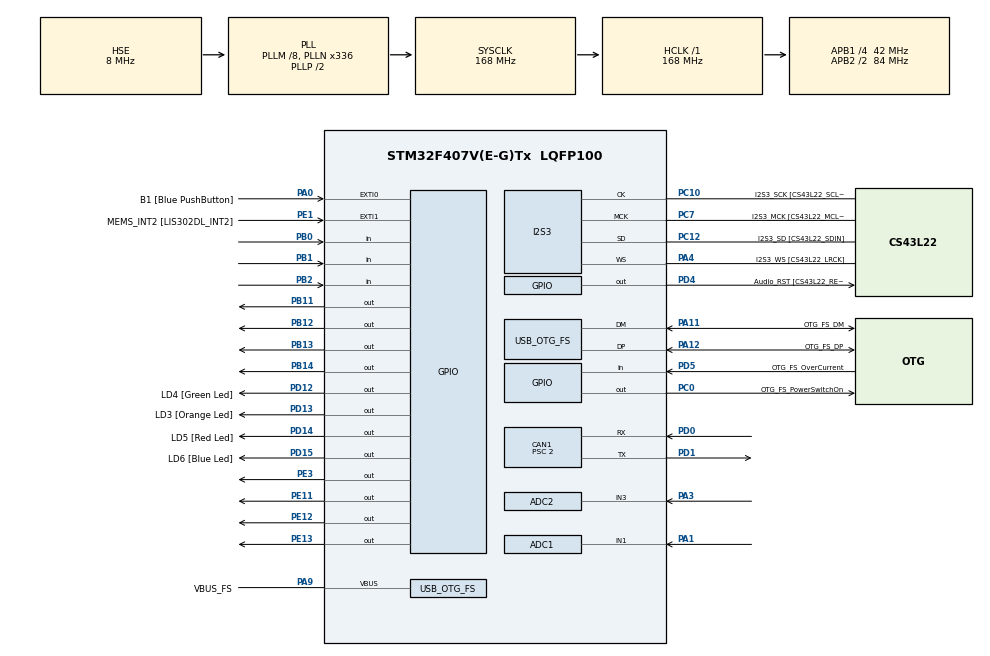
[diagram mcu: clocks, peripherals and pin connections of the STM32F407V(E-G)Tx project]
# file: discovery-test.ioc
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PA11.GPIO_Speed=GPIO_SPEED_FREQ_LOW
PD12.GPIO_Label=LD4 [Green Led]
PH0-OSC_IN.Signal=RCC_OSC_IN
PC10.GPIO_PuPd=GPIO_NOPULL
PB10.GPIO_PuPd=GPIO_NOPULL
PA10.GPIO_PuPd=GPIO_NOPULL
PC12.Signal=I2S3_SD
PA14.GPIO_Label=SWCLK
PA6.GPIO_Label=SPI1_MISO [LIS302DL_SDO]
PB6.GPIO_Label=Audio_SCL [CS43L22_SCL]
PB13.Signal=GPIO_Output
PC15-OSC32_OUT.GPIO_Label=PC15-OSC32_OUT
PC3.GPIO_Speed=GPIO_SPEED_FREQ_LOW
RCC.SYSCLKSource=RCC_SYSCLKSOURCE_PLLCLK
PA6.GPIO_Mode=GPIO_MODE_AF_PP
PD14.GPIO_Speed=GPIO_SPEED_FREQ_LOW
PA4.Mode=Half_Duplex_Master
I2S3.AudioFreq-Half_Duplex_Master=I2S_AUDIOFREQ_96K
PD4.Signal=GPIO_Output
RCC.APB2TimFreq_Value=168000000
PB6.Signal=I2C1_SCL
PC7.Signal=I2S3_MCK
PC3.Signal=I2S2_SD
PD0.Signal=CAN1_RX
PE1.Signal=GPXTI1
USB_OTG_FS.phy_itface=HCD_PHY_EMBEDDED
PB2.Signal=GPIO_Input
I2S3.ErrorAudioFreq=-2.34 %
PA5.GPIO_PuPd=GPIO_NOPULL
I2S3.ErrorAudioFreq-Half_Duplex_Master=0.8 %
PD5.GPIO_Mode=GPIO_MODE_INPUT
PD14.GPIO_PuPd=GPIO_NOPULL
VP_TIM1_VS_ClockSourceINT.Mode=Internal
ADC1.SamplingTime-0\#ChannelRegularConversion=ADC_SAMPLETIME_3CYCLES
CAN1.Prescaler=2
Mcu.Package=LQFP100
PB9.Signal=I2C1_SDA
PB1.Signal=GPIO_Input
PD12.Signal=GPIO_Output
PA10.Signal=USB_OTG_FS_ID
PB9.GPIO_PuPd=GPIO_NOPULL
RCC.APB2CLKDivider=RCC_HCLK_DIV2
RCC.APB1TimFreq_Value=84000000
TIM1.Period=0xffff-1
PC12.GPIO_PuPd=GPIO_NOPULL
PA6.GPIO_Speed=GPIO_SPEED_FREQ_LOW
PA12.GPIO_PuPd=GPIO_NOPULL
CAN1.CalculateTimeBit=999.99
PA4.GPIO_Label=I2S3_WS [CS43L22_LRCK]
PD15.Signal=GPIO_Output
PC0.PinState=GPIO_PIN_SET
CAN1.CalculateTimeQuantum=47.61904761904762
I2S3.FullDuplexMode=I2S_FULLDUPLEXMODE_DISABLE
ADC1.Rank-0\#ChannelRegularConversion=1
PA9.GPIO_Label=VBUS_FS
PB6.GPIO_PuPd=GPIO_NOPULL
CAN1.CalculateBaudRate=1000000
PD1.Signal=CAN1_TX
PA11.GPIO_Label=OTG_FS_DM
PE1.GPIO_PuPd=GPIO_NOPULL
PC0.Signal=GPIO_Output
RCC.APB1CLKDivider=RCC_HCLK_DIV4
PC14-OSC32_IN.Signal=RCC_OSC32_IN
PA0-WKUP.GPIO_ModeDefaultEXTI=GPIO_MODE_EVT_RISING
PA0-WKUP.GPIO_Label=B1 [Blue PushButton]
PA0-WKUP.Signal=GPXTI0
USB_HOST0.BSP.STBoard=false
PC10.GPIO_Mode=GPIO_MODE_AF_PP
PB10.GPIO_Mode=GPIO_MODE_AF_PP
PA9.Signal=USB_OTG_FS_VBUS
I2S3.VirtualMode=I2S_MODE_MASTER
PC7.GPIO_PuPd=GPIO_NOPULL
PB10.Signal=I2S2_CK
PB14.Signal=GPIO_Output
PA5.Signal=SPI1_SCK
I2S3.AudioFreq=I2S_AUDIOFREQ_96K
PC12.Mode=Half_Duplex_Master
PE1.GPIO_Label=MEMS_INT2 [LIS302DL_INT2]
USB_HOST.VirtualModeFS=Cdc
PA7.GPIO_Speed=GPIO_SPEED_FREQ_LOW
PD1.Mode=CAN_Activate
PD4.GPIO_Speed=GPIO_SPEED_FREQ_LOW
PH1-OSC_OUT.GPIO_Label=PH1-OSC_OUT
PA13.Mode=Serial_Wire
PC7.GPIO_Label=I2S3_MCK [CS43L22_MCLK]
PA4.Signal=I2S3_WS
PC12.GPIO_Mode=GPIO_MODE_AF_PP
ADC1.master=1
PA5.GPIO_Label=SPI1_SCK [LIS302DL_SCL/SPC]
ADC2.NbrOfConversionFlag=1
PC12.GPIO_Label=I2S3_SD [CS43L22_SDIN]
PA11.Signal=USB_OTG_FS_DM
ProjectManager.HeapSize=0x200
NVIC.PriorityGroup=NVIC_PRIORITYGROUP_0
PE3.Signal=GPIO_Output
PC3.GPIO_Label=PDM_OUT [MP45DT02_DOUT]
PA0-WKUP.GPIO_PuPd=GPIO_NOPULL
I2S3.Instance=SPI$Index
PB6.GPIO_Speed=GPIO_SPEED_FREQ_LOW
PB0.Signal=GPIO_Input
USB_HOST0.BSP.mode=Output
Mcu.Family=STM32F4
PC3.GPIO_Mode=GPIO_MODE_AF_PP
RCC.CortexFreq_Value=168000000
PB10.GPIO_Speed=GPIO_SPEED_FREQ_LOW
PB6.GPIO_Mode=GPIO_MODE_AF_OD
ADC2.Channel-0\#ChannelRegularConversion=ADC_CHANNEL_3
PD15.GPIO_Speed=GPIO_SPEED_FREQ_LOW
PC10.Signal=I2S3_CK
PA7.GPIO_Mode=GPIO_MODE_AF_PP
PC0.GPIO_Label=OTG_FS_PowerSwitchOn
PA11.Mode=Host_Only
PC10.GPIO_Speed=GPIO_SPEED_FREQ_LOW
PA11.GPIO_PuPd=GPIO_NOPULL
PB11.Signal=GPIO_Output
ProjectManager.StackSize=0x400
PD13.Signal=GPIO_Output
PA12.Signal=USB_OTG_FS_DP
TIM1.Prescaler=168-1
RCC.HCLKFreq_Value=168000000
SH.ADCx_IN3.0=ADC2_IN3,IN3
USB_HOST0.BSP.ip=GPIO
RCC.AHBFreq_Value=168000000
PH0-OSC_IN.Mode=HSE-External-Oscillator
PH0-OSC_IN.GPIO_Label=PH0-OSC_IN
PA9.GPIO_Mode=GPIO_MODE_INPUT
ADC1.Channel-0\#ChannelRegularConversion=ADC_CHANNEL_1
RCC.HSE_VALUE=8000000
PA4.GPIO_PuPd=GPIO_NOPULL
PA4.GPIO_Speed=GPIO_SPEED_FREQ_LOW
PA6.GPIO_PuPd=GPIO_NOPULL
PE13.Signal=GPIO_Output
PC14-OSC32_IN.Mode=LSE-External-Oscillator
PA14.Mode=Serial_Wire
PA10.GPIO_Label=OTG_FS_ID
PC7.GPIO_Mode=GPIO_MODE_AF_PP
USB_HOST0.BSP.i2creg=0
PH1-OSC_OUT.Mode=HSE-External-Oscillator
USB_HOST0.BSP.i2caddr=0
PD13.GPIO_Label=LD3 [Orange Led]
PA6.Signal=SPI1_MISO
USB_HOST.USBH_HandleTypeDef-CDC_FS=hUsbHostFS
PD5.GPIO_Label=OTG_FS_OverCurrent
NVIC.OTG_FS_IRQn=true\:0\:0\:false\:false\:true\:true\:true
PD15.GPIO_PuPd=GPIO_NOPULL
USB_OTG_FS.VirtualMode=Host_Only
ADC2.SamplingTime-0\#ChannelRegularConversion=ADC_SAMPLETIME_3CYCLES
PA10.GPIO_Speed=GPIO_SPEED_FREQ_LOW
USB_HOST0.BSP.name=Drive_VBUS_FS
SH.ADCx_IN1.0=ADC1_IN1,IN1
PB9.GPIO_Speed=GPIO_SPEED_FREQ_LOW
PC14-OSC32_IN.GPIO_Label=PC14-OSC32_IN
ADC2.Rank-0\#ChannelRegularConversion=1
PC0.GPIO_PuPd=GPIO_NOPULL
PA12.GPIO_Speed=GPIO_SPEED_FREQ_LOW
PA3.Signal=ADCx_IN3
PB3.GPIO_Label=SWO
ADC2.ClockPrescaler=ADC_CLOCK_SYNC_PCLK_DIV4
PC15-OSC32_OUT.Mode=LSE-External-Oscillator
PD12.GPIO_Speed=GPIO_SPEED_FREQ_LOW
PD15.GPIO_Label=LD6 [Blue Led]
PB9.GPIO_Label=Audio_SDA [CS43L22_SDA]
PC10.GPIO_Label=I2S3_SCK [CS43L22_SCLK]
USB_HOST0.BSP.solution=PC0
PC10.Mode=Half_Duplex_Master
USB_HOST.BSP.number=1
PD5.Signal=GPIO_Input
PE1.GPIO_ModeDefaultEXTI=GPIO_MODE_EVT_RISING
PA9.GPIO_PuPd=GPIO_NOPULL
PA12.GPIO_Label=OTG_FS_DP
PA10.GPIO_Mode=GPIO_MODE_AF_PP
PA13.Signal=SYS_JTMS-SWDIO
PD4.GPIO_PuPd=GPIO_NOPULL
PA9.Mode=Activate_VBUS
PC0.GPIO_Speed=GPIO_SPEED_FREQ_LOW
I2S3.RealAudioFreq-Half_Duplex_Master=96.774 KHz
CAN1.BS2=CAN_BS2_4TQ
CAN1.BS1=CAN_BS1_16TQ
ProjectManager.TargetToolchain=STM32CubeIDE
PB10.GPIO_Label=CLK_IN [MP45DT02_CLK]
PE11.Signal=GPIO_Output
PC15-OSC32_OUT.Signal=RCC_OSC32_OUT
PA7.GPIO_PuPd=GPIO_NOPULL
PA1.Signal=ADCx_IN1
board=STM32F407G-DISC1
PD13.GPIO_Speed=GPIO_SPEED_FREQ_LOW
PC7.GPIO_Speed=GPIO_SPEED_FREQ_LOW
RCC.VCOOutputFreq_Value=336000000
PB9.GPIO_Mode=GPIO_MODE_AF_OD
PA12.GPIO_Mode=GPIO_MODE_AF_PP
PA4.GPIO_Mode=GPIO_MODE_AF_PP
RCC.APB2Freq_Value=84000000
USB_HOST0.BSP.api=Unknown
PD4.GPIO_Label=Audio_RST [CS43L22_RESET]
PH1-OSC_OUT.Signal=RCC_OSC_OUT
PD13.GPIO_PuPd=GPIO_NOPULL
PD5.GPIO_PuPd=GPIO_NOPULL
PD14.GPIO_Label=LD5 [Red Led]
Mcu.Name=STM32F407V(E-G)Tx
PD0.Mode=CAN_Activate
PE12.Signal=GPIO_Output
PA13.GPIO_Label=SWDIO
PD14.Signal=GPIO_Output
RCC.48MHZClocksFreq_Value=48000000
PB3.Signal=SYS_JTDO-SWO
RCC.SYSCLKFreq_VALUE=168000000
PA7.GPIO_Label=SPI1_MOSI [LIS302DL_SDA/SDI/SDO]
PA12.Mode=Host_Only
VP_USB_HOST_VS_USB_HOST_CDC_FS.Mode=CDC_FS
PA14.Signal=SYS_JTCK-SWCLK
RCC.HSI_VALUE=16000000
PA5.GPIO_Speed=GPIO_SPEED_FREQ_LOW
RCC.PLLQ=7
ADC1.NbrOfConversionFlag=1
I2S3.RealAudioFreq=93.75 KHz
RCC.PLLM=8
RCC.PLLN=336
PC7.Mode=Master_Clock_Activated
PA11.GPIO_Mode=GPIO_MODE_AF_PP
RCC.APB1Freq_Value=42000000
PA5.GPIO_Mode=GPIO_MODE_AF_PP
PC12.GPIO_Speed=GPIO_SPEED_FREQ_LOW
ADC1.ClockPrescaler=ADC_CLOCK_SYNC_PCLK_DIV4
PB12.Signal=GPIO_Output
PC3.GPIO_PuPd=GPIO_NOPULL
PD12.GPIO_PuPd=GPIO_NOPULL
PA7.Signal=SPI1_MOSI
USB_HOST0.BSP.instance=PC0

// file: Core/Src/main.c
/* USER CODE BEGIN Header */
/**
 ******************************************************************************
 * @file           : main.c
 * @brief          : Main program body
 ******************************************************************************
 * @attention
 *
 * <h2><center>&copy; Copyright (c) 2021 STMicroelectronics.
 * All rights reserved.</center></h2>
 *
 * This software component is licensed by ST under Ultimate Liberty license
 * SLA0044, the "License"; You may not use this file except in compliance with
 * the License. You may obtain a copy of the License at:
 *                             www.st.com/SLA0044
 *
 ******************************************************************************
 */
/* USER CODE END Header */
#include "main.h"
#include "usb_host.h"

/* USER CODE BEGIN Includes */
#include <stdio.h>
#include <string.h>
#include <math.h>
#include "LCD1602.h"
/* USER CODE END Includes */

/* USER CODE BEGIN PTD */
#define FLASH_STORAGE 0x080E0000
#define page_size 0x800

/* USER CODE END PTD */

ADC_HandleTypeDef hadc1;
ADC_HandleTypeDef hadc2;

CAN_HandleTypeDef hcan1;

I2S_HandleTypeDef hi2s3;

TIM_HandleTypeDef htim1;

/* USER CODE BEGIN PV */
uint32_t* p_tx_mailbox; //initialize pointer to Tx Mailbox
CAN_FilterTypeDef can_filter; //initialize CAN filter structure

CAN_TxHeaderTypeDef headers_1, headers_2, headers_3; // initialize CAN headers
uint8_t id_arr[4];
uint32_t *CAN_IDs;
uint8_t PSC=2;
char modified_can_id[3];//can id of the can signal being modified

uint16_t us = 300;//delay between samples

uint8_t device_id=0;//id of the device connected to the can module (0=EC-LV, 1=JB3)
//array of display rows to cycle through
char display_rows[10][17] = {"Baud rate:      ", "CAN ID 1:    001","CAN ID 2:    002","CAN ID 3:    003", "Calibrate ADC  1", "Calibrate ADC  2", "Calibrate ADC  3", "Display Values  ", "Device:         ", "Delay:          "};
//devices to cycle through
const char device_options[2][5] = {"EC-LV","  JB3"};
//baud rates to cycle through
const char baud_rates [4][4] = {"125k", "250k", "500k", "  1M"};

//menu vars
const int display_rows_length=(sizeof(display_rows)/sizeof(display_rows[0]));
const int device_options_length=(sizeof(device_options)/sizeof(device_options[0]));
const int baud_rates_length=(sizeof(baud_rates)/sizeof(baud_rates[0]));

char temp[17];
const char device_str[16]="Device:    ";
const char baud_str[16]="Baud rate:  ";
const char can_id_str[16]="CAN ID ";
const char delay_str[16]="Delay:   ";

int menu_pos = 0; //display menu position
int device_pos=0; //device menu position
int baud_pos = 3; //baud_rate array position
// Flash addresses for CAN IDs
uint16_t VirtAddVarTab[3] = {0x5555, 0x6666, 0x7777};

uint8_t can_id_1; uint8_t can_id_2; uint8_t can_id_3;//CAN IDs of analog signals
char char_arr[16];//character array used in intToString
/* USER CODE END PV */

void SystemClock_Config(void);
static void MX_GPIO_Init(void);
static void MX_I2S3_Init(void);
static void MX_ADC1_Init(void);
static void MX_ADC2_Init(void);
static void MX_CAN1_Init(void);
static void MX_TIM1_Init(void);
void MX_USB_HOST_Process(void);

/* USER CODE BEGIN PFP */
int _write(int file, char *ptr, int len){
	int i =0;
	for(i=0; i<len; i++)
		ITM_SendChar((*ptr++));
	return len;
}
float intToDeg(uint16_t num);
//convert an int to a char array
char* intToString(int number, uint8_t digits)
{
	sprintf(char_arr, "%d", number);
	return char_arr;
}
uint32_t getUInt32(uint8_t* arr) {
	uint32_t value = arr[0] & 0xFF;
	value |= (arr[1] << 8) & 0xFFFF;
	value |= (arr[2] << 16) & 0xFFFFFF;
	value |= (arr[3] << 24) & 0xFFFFFFFF;
	return value;
}
void wordToBytes(uint32_t value){
	id_arr[3] = (value >> 24) & 0xFF;
	id_arr[2] = (value >> 16) & 0xFF;
	id_arr[1] = (value >> 8) & 0xFF;
	id_arr[0] = value & 0xFF;
}
void storeInFlash(void){
	//Unlock the Flash Program Erase controller
	HAL_FLASH_Unlock();

	//Erase sector
	FLASH_Erase_Sector(FLASH_SECTOR_11, FLASH_VOLTAGE_RANGE_3);
	FLASH_WaitForLastOperation(HAL_MAX_DELAY);

	//Store the CAN IDs
	HAL_FLASH_Program(FLASH_TYPEPROGRAM_WORD, 0x080E0000, getUInt32(id_arr));
	FLASH_WaitForLastOperation(HAL_MAX_DELAY);
	HAL_FLASH_Program(FLASH_TYPEPROGRAM_WORD, 0x080E0004, (uint32_t)baud_pos);
	FLASH_WaitForLastOperation(HAL_MAX_DELAY);
	HAL_FLASH_Program(FLASH_TYPEPROGRAM_WORD, 0x080E0008, (uint32_t)us);
		FLASH_WaitForLastOperation(HAL_MAX_DELAY);

	//Lock the Flash Program Erase controller
	HAL_FLASH_Lock();
}
void changeBaudRate(uint8_t direction);
void setBaudRate(void);
void changeDevice(uint8_t direction);
void setDeviceID(void);
void changeCANID(uint8_t direction);
void setCANID(void);
/* USER CODE END PFP */

int main(void)
{
	/* USER CODE BEGIN 1 */
	uint8_t up_val = 0; // up button value
	uint8_t down_val = 0; // down button value
	uint8_t sel_val = 0; // select button value
	uint8_t change_value_bool = 0; //boolean for changing the value the selected item

	uint16_t raw_1, raw_2, raw_3; //raw analog data from the sensors
	uint8_t a_data_1[2], a_data_2[2], a_data_3[2]; //analog data in a byte array

	CAN_IDs=(*(__IO uint32_t *) 0x080E0000);
	wordToBytes(CAN_IDs);
	can_id_1=id_arr[0];
	can_id_2=id_arr[1];
	can_id_3=id_arr[2];
	device_id=id_arr[3];

	if(can_id_1==can_id_2||can_id_1==can_id_3||can_id_2==can_id_3){
		can_id_1=1;
		can_id_2=2;
		can_id_3=3;
	}
	if(device_id!=1&&device_id!=0){
		device_id=0;
	}
	device_pos=device_id;

	baud_pos=(uint8_t)(*(__IO uint32_t *) 0x080E0004);
	if(baud_pos<0||baud_pos>3)
		baud_pos=3;
	PSC=pow(2,4-baud_pos);

	us=(uint16_t)(*(__IO uint32_t *) 0x080E0008);
	if(us>1000)
		us=150*(4-baud_pos);

	// Set the headers for the first analog signal
	headers_1.StdId = can_id_1; // set the CAN ID
	headers_1.IDE = CAN_ID_STD;
	headers_1.RTR = CAN_RTR_DATA;
	headers_1.DLC = sizeof(a_data_1); // set the size of the data
	headers_1.TransmitGlobalTime = DISABLE; // disable transmission of time

	// Set the headers for the second analog signal
	headers_2.StdId = can_id_2; // set the CAN ID
	headers_2.IDE = CAN_ID_STD;
	headers_2.RTR = CAN_RTR_DATA;
	headers_2.DLC = sizeof(a_data_2); // set the size of the data
	headers_2.TransmitGlobalTime = DISABLE; // disable transmission of time

	// Set the headers for the third analog signal
	headers_3.StdId = can_id_3; // set the CAN ID
	headers_3.IDE = CAN_ID_STD;
	headers_3.RTR = CAN_RTR_DATA;
	headers_3.DLC = sizeof(a_data_3); // set the size of the data
	headers_3.TransmitGlobalTime = DISABLE; // disable transmission of time

	//add options to menu
	//set the baud rate
	memset(temp,0,17);
	strncpy(temp, baud_str,16);
	strlcat(temp,baud_rates[baud_pos],17);
	strlcpy(display_rows[0],temp,17);
	//set the device
	memset(temp,0,17);
	strncpy(temp, device_str,16);
	strlcat(temp, device_options[device_pos],17);
	strlcpy(display_rows[8],temp,17);
	//set can IDs

	memset(temp, 0, 17);
	strncpy(temp, can_id_str,16);
	strcat(temp, "1:    ");
	memset(char_arr, 0, 16);
	sprintf(char_arr, "%03d", can_id_1);
	strlcat(temp, char_arr,17);
	memcpy(display_rows[1],temp,17);
	//can id 2
	memset(temp, 0, 17);
	strncpy(temp, can_id_str,16);
	strcat(temp, "2:    ");
	memset(char_arr, 0, 16);
	sprintf(char_arr, "%03d", can_id_2);
	strlcat(temp, char_arr,17);
	memcpy(display_rows[2],temp,17);
	//can id 3
	memset(temp, 0, 17);
	strncpy(temp, can_id_str,16);
	strcat(temp, "3:    ");
	memset(char_arr, 0, 16);
	sprintf(char_arr, "%03d", can_id_3);
	strlcat(temp, char_arr,17);
	memcpy(display_rows[3],temp,17);

	//Delay
	memset(temp, 0, 17);
	strncpy(temp, delay_str,16);
	memset(char_arr, 0, 16);
	sprintf(char_arr, "%05d", us);
	strcat(temp, char_arr);
	strlcat(temp,"us",17);
	memcpy(display_rows[9],temp,17);

	/* USER CODE END 1 */

	/* MCU Configuration--------------------------------------------------------*/

	/* Reset of all peripherals, Initializes the Flash interface and the Systick. */
	HAL_Init();

	/* Configure the system clock */
	SystemClock_Config();

	/* Initialize all configured peripherals */
	MX_GPIO_Init();
	MX_I2S3_Init();
	MX_USB_HOST_Init();
	MX_ADC1_Init();
	MX_ADC2_Init();
	MX_CAN1_Init();
	MX_TIM1_Init();
	/* USER CODE BEGIN 2 */

	HAL_TIM_Base_Start(&htim1);

	lcd_init();
	lcd_put_cur(0,0);
	lcd_send_string("Starting Up...");
	HAL_Delay(1000);
	lcd_put_cur(0,0);
	lcd_send_string("Initializing CAN");
	HAL_Delay(1000);

	//setup CAN filter
	can_filter.FilterMaskIdHigh = 0x0000;
	can_filter.FilterMaskIdLow = 0x0000;
	can_filter.FilterFIFOAssignment = CAN_FILTER_FIFO0;
	can_filter.FilterBank = 0;
	can_filter.FilterMode = CAN_FILTERMODE_IDMASK;
	can_filter.FilterScale = CAN_FILTERSCALE_32BIT;
	can_filter.FilterActivation = CAN_FILTER_ENABLE;

	//check that CAN Filter was setup correctly
	if (HAL_CAN_ConfigFilter(&hcan1, &can_filter) != HAL_OK) {
		Error_Handler();
	}

	//start the can protocol and verify that it has started
	if (HAL_CAN_Start(&hcan1) != HAL_OK) {
		Error_Handler();
	}
	char hee[16];

	//display start menu
	lcd_put_cur(0,0);
	lcd_send_string(strncpy(hee,display_rows[menu_pos],16));
	lcd_put_cur(1,0);
	lcd_send_string(strncpy(hee,display_rows[menu_pos+1],16));
	lcd_put_cur(0,0);

	int counter =0;
	int btn_counter=0;

	/* USER CODE END 2 */

	/* Infinite loop */
	/* USER CODE BEGIN WHILE */
	while (1)
	{
		__HAL_TIM_SET_COUNTER(&htim1,0);
		if(counter>1000)
			counter=0;

		//get raw data for analog 1
		HAL_ADC_Start(&hadc1);
		HAL_ADC_PollForConversion(&hadc1, HAL_MAX_DELAY);
		raw_1 = HAL_ADC_GetValue(&hadc1);

		//get raw data for analog 2
		HAL_ADC_Start(&hadc2);
		HAL_ADC_PollForConversion(&hadc2, HAL_MAX_DELAY);
		raw_2 = HAL_ADC_GetValue(&hadc2);

		HAL_GPIO_WritePin(GPIOD, GPIO_PIN_12, GPIO_PIN_RESET);
		HAL_GPIO_WritePin(GPIOD, GPIO_PIN_13, GPIO_PIN_RESET);
		HAL_GPIO_WritePin(GPIOD, GPIO_PIN_14, GPIO_PIN_RESET);
		HAL_GPIO_WritePin(GPIOD, GPIO_PIN_15, GPIO_PIN_RESET);
		//		if(raw_1<3900)
		//			HAL_GPIO_WritePin(GPIOD, GPIO_PIN_12, GPIO_PIN_SET);
		//		if(raw_1<3000)
		//			HAL_GPIO_WritePin(GPIOD, GPIO_PIN_13, GPIO_PIN_SET);
		//		if(raw_1<2000)
		//			HAL_GPIO_WritePin(GPIOD, GPIO_PIN_14, GPIO_PIN_SET);
		//		if(raw_1<1000)
		//			HAL_GPIO_WritePin(GPIOD, GPIO_PIN_15, GPIO_PIN_SET);

		if(HAL_GPIO_ReadPin(GPIOB, GPIO_PIN_0))
			HAL_GPIO_WritePin(GPIOD, GPIO_PIN_12, GPIO_PIN_SET);
		if(HAL_GPIO_ReadPin(GPIOB, GPIO_PIN_1))
			HAL_GPIO_WritePin(GPIOD, GPIO_PIN_14, GPIO_PIN_SET);
		if(HAL_GPIO_ReadPin(GPIOB, GPIO_PIN_2))
			HAL_GPIO_WritePin(GPIOD, GPIO_PIN_13, GPIO_PIN_SET);

		//put raw data into byte arrays
		a_data_1[0]=raw_1 & 0xff;
		a_data_1[1]=(raw_1 >> 8);

		a_data_2[0]=raw_2 & 0xff;
		a_data_2[1]=(raw_2 >> 8);

		HAL_CAN_AddTxMessage(&hcan1, &headers_1, a_data_1, p_tx_mailbox);//transmit CAN data for analog 1
		while (HAL_CAN_IsTxMessagePending(&hcan1,  p_tx_mailbox));//wait until data is sent for analog 1
		HAL_CAN_AddTxMessage(&hcan1, &headers_2, a_data_2, p_tx_mailbox);//transmit CAN data for analog 2
		while (HAL_CAN_IsTxMessagePending(&hcan1,  p_tx_mailbox));//wait until data is sent for analog 2

		//if the up button is pressed
		if(up_val==0 && HAL_GPIO_ReadPin(GPIOB, GPIO_PIN_0)&&btn_counter>1000){
			if(change_value_bool){
				//change the value of the selected item
				if(menu_pos==0)
					changeBaudRate(1);//increment baud rate
				else if(menu_pos < 4)
					changeCANID(1);//increment CAN ID
				else if(menu_pos == 8)
					changeDevice(1);//increment Device ID
				else if(menu_pos == 9)
					changeDelay(1);//increment Delay
			} else {
				//						scroll menu up

				menu_pos=(menu_pos==0)?display_rows_length-1:(menu_pos-1);//decrement menu position
				lcd_put_cur(0,0);
				lcd_send_string(strncpy(hee,display_rows[menu_pos],16));
				lcd_put_cur(1,0);
				lcd_send_string(strncpy(hee,display_rows[(menu_pos+1)%display_rows_length],16));
				lcd_put_cur(0,0);

			}
			up_val = 1; // set button value to pressed
			btn_counter=0;
		} else if (up_val==1 && !HAL_GPIO_ReadPin(GPIOB, GPIO_PIN_0)&&btn_counter>100){
			up_val = 0; // reset up button value
		}

		//if the down button is pressed
		if(down_val==0 && HAL_GPIO_ReadPin(GPIOB, GPIO_PIN_1)&&btn_counter>1000){
			if(change_value_bool){
				//change the value of the selected item
				if(menu_pos==0)
					changeBaudRate(-1);//decrement baud rate
				else if(menu_pos < 4)
					changeCANID(-1);//decrement CAN ID
				else if(menu_pos == 8)
					changeDevice(-1);//decrement Device ID
				else if(menu_pos == 9)
					changeDelay(-1);//decrement Delay
			} else {
				//scroll menu down
				menu_pos = (menu_pos+1)%display_rows_length;//increment menu position
				lcd_put_cur(0,0);
				lcd_send_string(strncpy(hee,display_rows[menu_pos],16));
				lcd_put_cur(1,0);
				lcd_send_string(strncpy(hee,display_rows[(menu_pos+1)%display_rows_length],16));
				lcd_put_cur(0,0);

			}
			down_val = 1; // set button value to pressed
			btn_counter=0;
		} else if (down_val==1 && !HAL_GPIO_ReadPin(GPIOB, GPIO_PIN_1)&&btn_counter>100){
			down_val = 0; // reset up button value
		}

		//if the select button is pressed
		if(sel_val==0 && HAL_GPIO_ReadPin(GPIOB, GPIO_PIN_2)&&btn_counter>1000){
			//set changes and reinitialize can bus
			if(change_value_bool){
				if(menu_pos==0)
					setBaudRate();
				else if(menu_pos< 4)
					setCANID();
				//						else if(menu_pos==4)
				//							calibrateSDADC(&hsdadc1, SDADC_CHANNEL_1);
				//						else if(menu_pos==5)
				//							calibrateSDADC(&hsdadc2, SDADC_CHANNEL_0);
				//						else if(menu_pos==6)
				//							calibrateSDADC(&hsdadc3, SDADC_CHANNEL_4);
				else if(menu_pos==8)
					setDeviceID();
				else if(menu_pos == 9)
					setDelay();//set Delay
			}else{
				lcd_put_cur(0,15);
			}
			change_value_bool=!change_value_bool;
			sel_val=1;
			btn_counter=0;
		} else if (sel_val==1 && !HAL_GPIO_ReadPin(GPIOB, GPIO_PIN_2)&&btn_counter>100){

			sel_val = 0; // reset up button value
		}

		//Display values on display
		if(menu_pos==7 && change_value_bool && counter==0){
			lcd_put_cur(0,0);
			lcd_send_string("Ang Pos:        ");
			lcd_put_cur(0,11);
			memset(char_arr, 0, 16);
			sprintf(char_arr, "%05d", raw_1);
			lcd_send_string(char_arr);
			lcd_put_cur(1,0);
			lcd_send_string("Ang Vel:        ");
			lcd_put_cur(1,11);
			memset(char_arr, 0, 16);
			sprintf(char_arr, "%05d", raw_2);
			lcd_send_string(char_arr);

		}

		counter++;
		btn_counter++;

		while ((uint16_t)__HAL_TIM_GET_COUNTER(&htim1) < us);
		/* USER CODE END WHILE */
		MX_USB_HOST_Process();

	}
}

void SystemClock_Config(void)
{
	RCC_OscInitTypeDef RCC_OscInitStruct = {0};
	RCC_ClkInitTypeDef RCC_ClkInitStruct = {0};
	RCC_PeriphCLKInitTypeDef PeriphClkInitStruct = {0};

	/** Configure the main internal regulator output voltage
	 */
	__HAL_RCC_PWR_CLK_ENABLE();
	__HAL_PWR_VOLTAGESCALING_CONFIG(PWR_REGULATOR_VOLTAGE_SCALE1);
	/** Initializes the RCC Oscillators according to the specified parameters
	 * in the RCC_OscInitTypeDef structure.
	 */
	RCC_OscInitStruct.OscillatorType = RCC_OSCILLATORTYPE_HSE;
	RCC_OscInitStruct.HSEState = RCC_HSE_ON;
	RCC_OscInitStruct.PLL.PLLState = RCC_PLL_ON;
	RCC_OscInitStruct.PLL.PLLSource = RCC_PLLSOURCE_HSE;
	RCC_OscInitStruct.PLL.PLLM = 8;
	RCC_OscInitStruct.PLL.PLLN = 336;
	RCC_OscInitStruct.PLL.PLLP = RCC_PLLP_DIV2;
	RCC_OscInitStruct.PLL.PLLQ = 7;
	if (HAL_RCC_OscConfig(&RCC_OscInitStruct) != HAL_OK)
	{
		Error_Handler();
	}
	/** Initializes the CPU, AHB and APB buses clocks
	 */
	RCC_ClkInitStruct.ClockType = RCC_CLOCKTYPE_HCLK|RCC_CLOCKTYPE_SYSCLK
			|RCC_CLOCKTYPE_PCLK1|RCC_CLOCKTYPE_PCLK2;
	RCC_ClkInitStruct.SYSCLKSource = RCC_SYSCLKSOURCE_PLLCLK;
	RCC_ClkInitStruct.AHBCLKDivider = RCC_SYSCLK_DIV1;
	RCC_ClkInitStruct.APB1CLKDivider = RCC_HCLK_DIV4;
	RCC_ClkInitStruct.APB2CLKDivider = RCC_HCLK_DIV2;

	if (HAL_RCC_ClockConfig(&RCC_ClkInitStruct, FLASH_LATENCY_5) != HAL_OK)
	{
		Error_Handler();
	}
	PeriphClkInitStruct.PeriphClockSelection = RCC_PERIPHCLK_I2S;
	PeriphClkInitStruct.PLLI2S.PLLI2SN = 192;
	PeriphClkInitStruct.PLLI2S.PLLI2SR = 2;
	if (HAL_RCCEx_PeriphCLKConfig(&PeriphClkInitStruct) != HAL_OK)
	{
		Error_Handler();
	}
}

static void MX_ADC1_Init(void)
{

	ADC_ChannelConfTypeDef sConfig = {0};

	/** Configure the global features of the ADC (Clock, Resolution, Data Alignment and number of conversion)
	 */
	hadc1.Instance = ADC1;
	hadc1.Init.ClockPrescaler = ADC_CLOCK_SYNC_PCLK_DIV4;
	hadc1.Init.Resolution = ADC_RESOLUTION_12B;
	hadc1.Init.ScanConvMode = DISABLE;
	hadc1.Init.ContinuousConvMode = DISABLE;
	hadc1.Init.DiscontinuousConvMode = DISABLE;
	hadc1.Init.ExternalTrigConvEdge = ADC_EXTERNALTRIGCONVEDGE_NONE;
	hadc1.Init.ExternalTrigConv = ADC_SOFTWARE_START;
	hadc1.Init.DataAlign = ADC_DATAALIGN_RIGHT;
	hadc1.Init.NbrOfConversion = 1;
	hadc1.Init.DMAContinuousRequests = DISABLE;
	hadc1.Init.EOCSelection = ADC_EOC_SINGLE_CONV;
	if (HAL_ADC_Init(&hadc1) != HAL_OK)
	{
		Error_Handler();
	}
	/** Configure for the selected ADC regular channel its corresponding rank in the sequencer and its sample time.
	 */
	sConfig.Channel = ADC_CHANNEL_1;
	sConfig.Rank = 1;
	sConfig.SamplingTime = ADC_SAMPLETIME_3CYCLES;
	if (HAL_ADC_ConfigChannel(&hadc1, &sConfig) != HAL_OK)
	{
		Error_Handler();
	}

}

static void MX_ADC2_Init(void)
{

	ADC_ChannelConfTypeDef sConfig = {0};

	/** Configure the global features of the ADC (Clock, Resolution, Data Alignment and number of conversion)
	 */
	hadc2.Instance = ADC2;
	hadc2.Init.ClockPrescaler = ADC_CLOCK_SYNC_PCLK_DIV4;
	hadc2.Init.Resolution = ADC_RESOLUTION_12B;
	hadc2.Init.ScanConvMode = DISABLE;
	hadc2.Init.ContinuousConvMode = DISABLE;
	hadc2.Init.DiscontinuousConvMode = DISABLE;
	hadc2.Init.ExternalTrigConvEdge = ADC_EXTERNALTRIGCONVEDGE_NONE;
	hadc2.Init.ExternalTrigConv = ADC_SOFTWARE_START;
	hadc2.Init.DataAlign = ADC_DATAALIGN_RIGHT;
	hadc2.Init.NbrOfConversion = 1;
	hadc2.Init.DMAContinuousRequests = DISABLE;
	hadc2.Init.EOCSelection = ADC_EOC_SINGLE_CONV;
	if (HAL_ADC_Init(&hadc2) != HAL_OK)
	{
		Error_Handler();
	}
	/** Configure for the selected ADC regular channel its corresponding rank in the sequencer and its sample time.
	 */
	sConfig.Channel = ADC_CHANNEL_3;
	sConfig.Rank = 1;
	sConfig.SamplingTime = ADC_SAMPLETIME_3CYCLES;
	if (HAL_ADC_ConfigChannel(&hadc2, &sConfig) != HAL_OK)
	{
		Error_Handler();
	}

}

static void MX_CAN1_Init(void)
{

	hcan1.Instance = CAN1;
	hcan1.Init.Prescaler=PSC;
	hcan1.Init.Mode = CAN_MODE_NORMAL;
	hcan1.Init.SyncJumpWidth = CAN_SJW_1TQ;
	hcan1.Init.TimeSeg1 = CAN_BS1_16TQ;
	hcan1.Init.TimeSeg2 = CAN_BS2_4TQ;
	hcan1.Init.TimeTriggeredMode = DISABLE;
	hcan1.Init.AutoBusOff = DISABLE;
	hcan1.Init.AutoWakeUp = DISABLE;
	hcan1.Init.AutoRetransmission = DISABLE;
	hcan1.Init.ReceiveFifoLocked = DISABLE;
	hcan1.Init.TransmitFifoPriority = DISABLE;
	if (HAL_CAN_Init(&hcan1) != HAL_OK)
	{
		Error_Handler();
	}

}

static void MX_I2S3_Init(void)
{

	hi2s3.Instance = SPI3;
	hi2s3.Init.Mode = I2S_MODE_MASTER_TX;
	hi2s3.Init.Standard = I2S_STANDARD_PHILIPS;
	hi2s3.Init.DataFormat = I2S_DATAFORMAT_16B;
	hi2s3.Init.MCLKOutput = I2S_MCLKOUTPUT_ENABLE;
	hi2s3.Init.AudioFreq = I2S_AUDIOFREQ_96K;
	hi2s3.Init.CPOL = I2S_CPOL_LOW;
	hi2s3.Init.ClockSource = I2S_CLOCK_PLL;
	hi2s3.Init.FullDuplexMode = I2S_FULLDUPLEXMODE_DISABLE;
	if (HAL_I2S_Init(&hi2s3) != HAL_OK)
	{
		Error_Handler();
	}

}

static void MX_TIM1_Init(void)
{

	TIM_ClockConfigTypeDef sClockSourceConfig = {0};
	TIM_MasterConfigTypeDef sMasterConfig = {0};

	htim1.Instance = TIM1;
	htim1.Init.Prescaler = 168-1;
	htim1.Init.CounterMode = TIM_COUNTERMODE_UP;
	htim1.Init.Period = 0xffff-1;
	htim1.Init.ClockDivision = TIM_CLOCKDIVISION_DIV1;
	htim1.Init.RepetitionCounter = 0;
	htim1.Init.AutoReloadPreload = TIM_AUTORELOAD_PRELOAD_DISABLE;
	if (HAL_TIM_Base_Init(&htim1) != HAL_OK)
	{
		Error_Handler();
	}
	sClockSourceConfig.ClockSource = TIM_CLOCKSOURCE_INTERNAL;
	if (HAL_TIM_ConfigClockSource(&htim1, &sClockSourceConfig) != HAL_OK)
	{
		Error_Handler();
	}
	sMasterConfig.MasterOutputTrigger = TIM_TRGO_RESET;
	sMasterConfig.MasterSlaveMode = TIM_MASTERSLAVEMODE_DISABLE;
	if (HAL_TIMEx_MasterConfigSynchronization(&htim1, &sMasterConfig) != HAL_OK)
	{
		Error_Handler();
	}

}

static void MX_GPIO_Init(void)
{
	GPIO_InitTypeDef GPIO_InitStruct = {0};

	/* GPIO Ports Clock Enable */
	__HAL_RCC_GPIOE_CLK_ENABLE();
	__HAL_RCC_GPIOC_CLK_ENABLE();
	__HAL_RCC_GPIOH_CLK_ENABLE();
	__HAL_RCC_GPIOA_CLK_ENABLE();
	__HAL_RCC_GPIOB_CLK_ENABLE();
	__HAL_RCC_GPIOD_CLK_ENABLE();

	/*Configure GPIO pin Output Level */
	HAL_GPIO_WritePin(GPIOE, GPIO_PIN_3|GPIO_PIN_11|GPIO_PIN_12|GPIO_PIN_13, GPIO_PIN_RESET);

	/*Configure GPIO pin Output Level */
	HAL_GPIO_WritePin(OTG_FS_PowerSwitchOn_GPIO_Port, OTG_FS_PowerSwitchOn_Pin, GPIO_PIN_SET);

	/*Configure GPIO pin Output Level */
	HAL_GPIO_WritePin(GPIOB, GPIO_PIN_11|GPIO_PIN_12|GPIO_PIN_13|GPIO_PIN_14, GPIO_PIN_RESET);

	/*Configure GPIO pin Output Level */
	HAL_GPIO_WritePin(GPIOD, LD4_Pin|LD3_Pin|LD5_Pin|LD6_Pin
			|Audio_RST_Pin, GPIO_PIN_RESET);

	/*Configure GPIO pins : PE3 PE11 PE12 PE13 */
	GPIO_InitStruct.Pin = GPIO_PIN_3|GPIO_PIN_11|GPIO_PIN_12|GPIO_PIN_13;
	GPIO_InitStruct.Mode = GPIO_MODE_OUTPUT_PP;
	GPIO_InitStruct.Pull = GPIO_NOPULL;
	GPIO_InitStruct.Speed = GPIO_SPEED_FREQ_LOW;
	HAL_GPIO_Init(GPIOE, &GPIO_InitStruct);

	/*Configure GPIO pin : OTG_FS_PowerSwitchOn_Pin */
	GPIO_InitStruct.Pin = OTG_FS_PowerSwitchOn_Pin;
	GPIO_InitStruct.Mode = GPIO_MODE_OUTPUT_PP;
	GPIO_InitStruct.Pull = GPIO_NOPULL;
	GPIO_InitStruct.Speed = GPIO_SPEED_FREQ_LOW;
	HAL_GPIO_Init(OTG_FS_PowerSwitchOn_GPIO_Port, &GPIO_InitStruct);

	/*Configure GPIO pin : PDM_OUT_Pin */
	GPIO_InitStruct.Pin = PDM_OUT_Pin;
	GPIO_InitStruct.Mode = GPIO_MODE_AF_PP;
	GPIO_InitStruct.Pull = GPIO_NOPULL;
	GPIO_InitStruct.Speed = GPIO_SPEED_FREQ_LOW;
	GPIO_InitStruct.Alternate = GPIO_AF5_SPI2;
	HAL_GPIO_Init(PDM_OUT_GPIO_Port, &GPIO_InitStruct);

	/*Configure GPIO pin : B1_Pin */
	GPIO_InitStruct.Pin = B1_Pin;
	GPIO_InitStruct.Mode = GPIO_MODE_EVT_RISING;
	GPIO_InitStruct.Pull = GPIO_NOPULL;
	HAL_GPIO_Init(B1_GPIO_Port, &GPIO_InitStruct);

	/*Configure GPIO pins : SPI1_SCK_Pin SPI1_MISO_Pin SPI1_MOSI_Pin */
	GPIO_InitStruct.Pin = SPI1_SCK_Pin|SPI1_MISO_Pin|SPI1_MOSI_Pin;
	GPIO_InitStruct.Mode = GPIO_MODE_AF_PP;
	GPIO_InitStruct.Pull = GPIO_NOPULL;
	GPIO_InitStruct.Speed = GPIO_SPEED_FREQ_LOW;
	GPIO_InitStruct.Alternate = GPIO_AF5_SPI1;
	HAL_GPIO_Init(GPIOA, &GPIO_InitStruct);

	/*Configure GPIO pins : PB0 PB1 PB2 */
	GPIO_InitStruct.Pin = GPIO_PIN_0|GPIO_PIN_1|GPIO_PIN_2;
	GPIO_InitStruct.Mode = GPIO_MODE_INPUT;
	GPIO_InitStruct.Pull = GPIO_NOPULL;
	HAL_GPIO_Init(GPIOB, &GPIO_InitStruct);

	/*Configure GPIO pin : CLK_IN_Pin */
	GPIO_InitStruct.Pin = CLK_IN_Pin;
	GPIO_InitStruct.Mode = GPIO_MODE_AF_PP;
	GPIO_InitStruct.Pull = GPIO_NOPULL;
	GPIO_InitStruct.Speed = GPIO_SPEED_FREQ_LOW;
	GPIO_InitStruct.Alternate = GPIO_AF5_SPI2;
	HAL_GPIO_Init(CLK_IN_GPIO_Port, &GPIO_InitStruct);

	/*Configure GPIO pins : PB11 PB12 PB13 PB14 */
	GPIO_InitStruct.Pin = GPIO_PIN_11|GPIO_PIN_12|GPIO_PIN_13|GPIO_PIN_14;
	GPIO_InitStruct.Mode = GPIO_MODE_OUTPUT_PP;
	GPIO_InitStruct.Pull = GPIO_NOPULL;
	GPIO_InitStruct.Speed = GPIO_SPEED_FREQ_LOW;
	HAL_GPIO_Init(GPIOB, &GPIO_InitStruct);

	/*Configure GPIO pins : LD4_Pin LD3_Pin LD5_Pin LD6_Pin
                           Audio_RST_Pin */
	GPIO_InitStruct.Pin = LD4_Pin|LD3_Pin|LD5_Pin|LD6_Pin
			|Audio_RST_Pin;
	GPIO_InitStruct.Mode = GPIO_MODE_OUTPUT_PP;
	GPIO_InitStruct.Pull = GPIO_NOPULL;
	GPIO_InitStruct.Speed = GPIO_SPEED_FREQ_LOW;
	HAL_GPIO_Init(GPIOD, &GPIO_InitStruct);

	/*Configure GPIO pin : OTG_FS_OverCurrent_Pin */
	GPIO_InitStruct.Pin = OTG_FS_OverCurrent_Pin;
	GPIO_InitStruct.Mode = GPIO_MODE_INPUT;
	GPIO_InitStruct.Pull = GPIO_NOPULL;
	HAL_GPIO_Init(OTG_FS_OverCurrent_GPIO_Port, &GPIO_InitStruct);

	/*Configure GPIO pins : Audio_SCL_Pin Audio_SDA_Pin */
	GPIO_InitStruct.Pin = Audio_SCL_Pin|Audio_SDA_Pin;
	GPIO_InitStruct.Mode = GPIO_MODE_AF_OD;
	GPIO_InitStruct.Pull = GPIO_PULLUP;
	GPIO_InitStruct.Speed = GPIO_SPEED_FREQ_LOW;
	GPIO_InitStruct.Alternate = GPIO_AF4_I2C1;
	HAL_GPIO_Init(GPIOB, &GPIO_InitStruct);

	/*Configure GPIO pin : MEMS_INT2_Pin */
	GPIO_InitStruct.Pin = MEMS_INT2_Pin;
	GPIO_InitStruct.Mode = GPIO_MODE_EVT_RISING;
	GPIO_InitStruct.Pull = GPIO_NOPULL;
	HAL_GPIO_Init(MEMS_INT2_GPIO_Port, &GPIO_InitStruct);

}

/* USER CODE BEGIN 4 */
void changeBaudRate(uint8_t direction){
	baud_pos = ((baud_pos+direction)<0)?baud_rates_length-1:(baud_pos+direction)%baud_rates_length;//move baud rate position in given direction
	lcd_put_cur(0,12);
	lcd_send_string(baud_rates[baud_pos]);
	lcd_put_cur(0,15);
}

//change the prescaler to achieve the desired baud rate and reinitialize the can bus
void setBaudRate(void){
	//stop can bus
	HAL_CAN_Stop(&hcan1);

	//set prescaler
	PSC=pow(2,4-baud_pos);
	hcan1.Init.Prescaler = PSC;

	//reinitialize
	if (HAL_CAN_Init(&hcan1) != HAL_OK)
	{
		Error_Handler();
	}

	//start the can protocol and verify that it has started
	if (HAL_CAN_Start(&hcan1) != HAL_OK) {
		Error_Handler();
	}

	storeInFlash();

	//set the baud rate in menu

	char hee[5];
	memset(temp,0,17);
	strncpy(temp, baud_str,16);
	strlcpy(hee, baud_rates[baud_pos],5);
	strlcpy(display_rows[0],strcat(temp, hee),17);
	lcd_put_cur(0,0);
}

//changes the device connected to the can module
void changeDevice(uint8_t direction){
	device_pos = !device_pos;//move baud rate position in given direction
	lcd_put_cur(0,11);
	lcd_send_string(device_options[device_pos]);
	lcd_put_cur(0,15);
}

//set the device ID
void setDeviceID(void){
	device_id=device_pos;

	//Store the id
	id_arr[3]=device_id;

	storeInFlash();

	//save device to menu
	char hee[5];
	memset(temp,0,17);
	strncpy(temp, device_str,16);
	strlcpy(display_rows[8],strncat(temp, strncpy(hee, device_options[device_pos],5),16),17);
	lcd_put_cur(0,0);
}

//changes the ID of the selected can device
void changeCANID(uint8_t direction){
	if(menu_pos==1){
		can_id_1+=direction;
		while(can_id_1==can_id_2 || can_id_1==can_id_3)//avoid conflicting IDs
			can_id_1+=direction;
		sprintf(char_arr, "%03d", can_id_1);
		memcpy(modified_can_id, char_arr, 3);//store new can id in modified_can_id
	} else if(menu_pos==2){
		can_id_2+=direction;
		while(can_id_2==can_id_1 || can_id_2==can_id_3)//avoid conflicting IDs
			can_id_2+=direction;
		sprintf(char_arr, "%03d", can_id_2);
		memcpy(modified_can_id, char_arr, 3);//store new can id in modified_can_id
	} else if(menu_pos==3){
		can_id_3+=direction;
		while(can_id_3==can_id_1 || can_id_3==can_id_2)//avoid conflicting IDs
			can_id_3+=direction;
		sprintf(char_arr, "%03d", can_id_3);
		memcpy(modified_can_id, char_arr, 3);//store new can id in modified_can_id
	}
	lcd_put_cur(0,13);
	lcd_send_string("    ");
	lcd_put_cur(0,13);
	lcd_send_string(modified_can_id);
	lcd_put_cur(0,15);
}

//set the can IDs
void setCANID(void){
	headers_1.StdId = can_id_1; // set CAN ID 1
	headers_2.StdId = can_id_2; // set CAN ID 2
	headers_3.StdId = can_id_3; // set CAN ID 3

	//Store the CAN IDs
	id_arr[0]=can_id_1;
	id_arr[1]=can_id_2;
	id_arr[2]=can_id_3;

	storeInFlash();

	//set can IDs in menu
	memset(temp, 0, 17);
	strncpy(temp, can_id_str,16);
	strcat(temp, "1:    ");
	memset(char_arr, 0, 16);
	sprintf(char_arr, "%03d", can_id_1);
	strlcat(temp, char_arr,17);
	memcpy(display_rows[1],temp,17);
	//can id 2
	memset(temp, 0, 17);
	strncpy(temp, can_id_str,16);
	strcat(temp, "2:    ");
	memset(char_arr, 0, 16);
	sprintf(char_arr, "%03d", can_id_2);
	strlcat(temp, char_arr,17);
	memcpy(display_rows[2],temp,17);
	//can id 3
	memset(temp, 0, 17);
	strncpy(temp, can_id_str,16);
	strcat(temp, "3:    ");
	memset(char_arr, 0, 16);
	sprintf(char_arr, "%03d", can_id_3);
	strlcat(temp, char_arr,17);
	memcpy(display_rows[3],temp,17);

	lcd_put_cur(0,0);
}

void changeDelay(uint16_t direction){
	us+=direction*50;//move baud rate position in given direction
	if(us==65486)
		us=1000;
	else if(us>1000)
		us=0;
	lcd_put_cur(0,9);
	char hee[5];
	sprintf(hee, "%05d", us);
	lcd_send_string(hee);
	lcd_put_cur(0,13);
}

//change the prescaler to achieve the desired baud rate and reinitialize the can bus
void setDelay(void){
	storeInFlash();

	//set the baud rate in menu
	memset(temp, 0, 17);
	strncpy(temp, delay_str,16);
	memset(char_arr, 0, 16);
	sprintf(char_arr, "%05d", us);
	strcat(temp, char_arr);
	strlcat(temp,"us",17);
	memcpy(display_rows[9],temp,17);
	lcd_put_cur(0,0);
}
//convert 12-bit int to degrees
float intToDeg(uint16_t num){
	return (num/4096)*360;
}
/* USER CODE END 4 */

void Error_Handler(void)
{
	__disable_irq();
	while (1)
	{
	}
}

/************************ (C) COPYRIGHT STMicroelectronics *****END OF FILE****/
